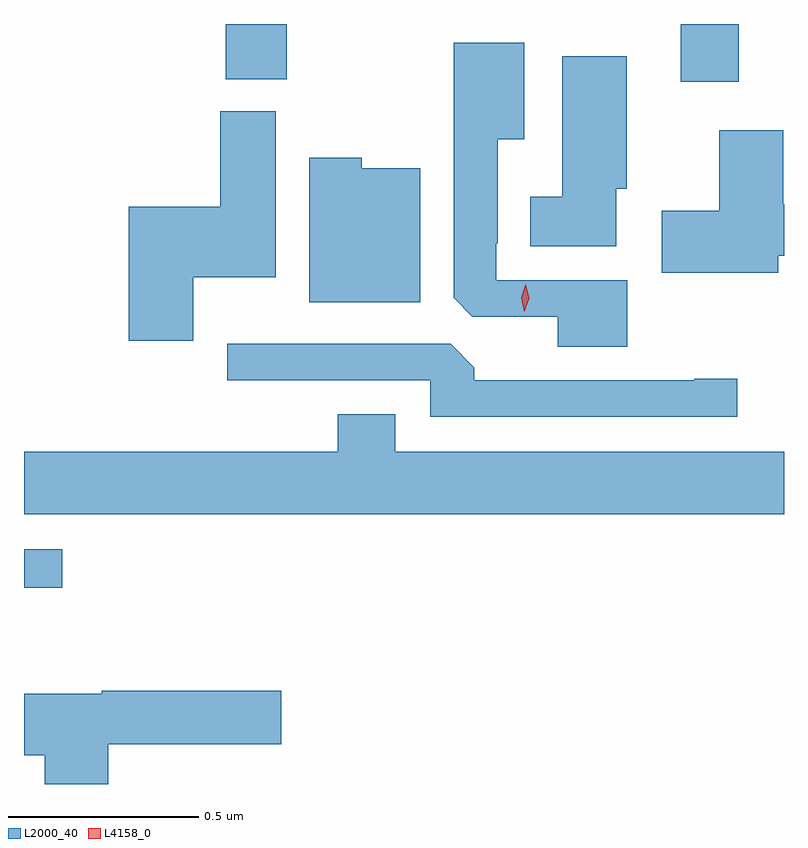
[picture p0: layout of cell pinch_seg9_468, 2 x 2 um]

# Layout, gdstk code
import gdstk
lib = gdstk.Library(unit=1e-6, precision=1e-09)
def R(c, l, rs):  # rectangles x0, y0, x1, y1
    for r in rs: c.add(gdstk.rectangle(r[:2], r[2:], *l))
def P(c, l, *ps):  # polygons
    for p in ps: c.add(gdstk.Polygon(p, *l))
L2000_40 = (2000, 40)
L4158_0 = (4158, 0)

pinch_seg9_468 = lib.new_cell('pinch_seg9_468')
R(pinch_seg9_468, L2000_40, [(218.336,1202.887,218.437,1202.988), (220.064,1204.218,220.217,1204.37), (218.867,1204.225,219.027,1204.37)])
P(pinch_seg9_468, L2000_40, [(219.923,1203.696),(219.579,1203.696),(219.579,1203.793),(219.583,1203.793),(219.583,1204.067),(219.652,1204.067),(219.652,1204.321),(219.467,1204.321),(219.467,1203.649),(219.516,1203.6),(219.74,1203.6),(219.74,1203.521),(219.923,1203.521)],
  [(219.895,1203.936),(219.922,1203.936),(219.922,1204.285),(219.752,1204.285),(219.752,1203.916),(219.668,1203.916),(219.668,1203.785),(219.895,1203.785)],
  [(218.782,1203.704),(218.998,1203.704),(218.998,1204.14),(218.852,1204.14),(218.852,1203.889),(218.612,1203.889),(218.612,1203.537),(218.782,1203.537)],
  [(220.321,1203.76),(220.336,1203.76),(220.336,1203.896),(220.334,1203.896),(220.334,1204.09),(220.166,1204.09),(220.166,1203.879),(220.014,1203.879),(220.014,1203.716),(220.321,1203.716)],
  [(219.379,1203.991),(219.225,1203.991),(219.225,1204.018),(219.086,1204.018),(219.086,1203.638),(219.379,1203.638)],
  [(220.213,1203.437),(220.1,1203.437),(220.1,1203.432),(219.521,1203.432),(219.521,1203.466),(219.459,1203.528),(218.871,1203.528),(218.871,1203.432),(219.405,1203.432),(219.405,1203.336),(220.213,1203.336)],
  [(220.336,1203.244),(219.313,1203.244),(219.313,1203.343),(219.161,1203.343),(219.161,1203.244),(218.336,1203.244),(218.336,1203.08),(220.336,1203.08)],
  [(218.558,1202.474),(219.013,1202.474),(219.013,1202.616),(218.541,1202.616),(218.541,1202.608),(218.336,1202.608),(218.336,1202.446),(218.39,1202.446),(218.39,1202.37),(218.558,1202.37)])
P(pinch_seg9_468, L4158_0, [(219.653,1203.613),(219.653,1203.613),(219.645,1203.649),(219.656,1203.685),(219.657,1203.685),(219.657,1203.685),(219.665,1203.648),(219.653,1203.613)])

lib.write_gds('pinch_seg9_468.gds')
